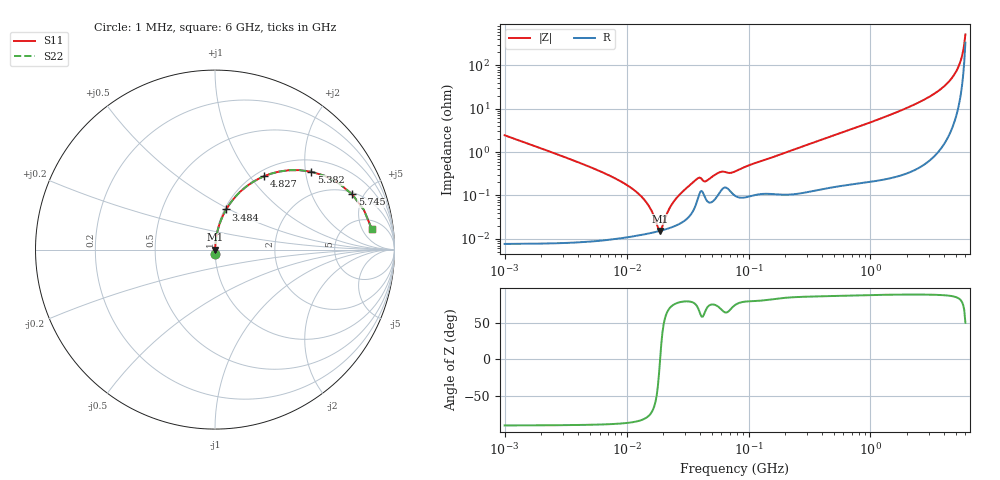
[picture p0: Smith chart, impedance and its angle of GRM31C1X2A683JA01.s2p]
!Murata Part Number: GRM31C1X2A683JA01
!These Parameters are Measured in Series Mode Connection
!Data Generated on Mar 30, 2021
!  o--ll--o
!Port1  Port2
!  o------o
!Operation Temp=25[degC], DC Bias Voltage=0[V]
!Freq. Start=1000[kHz] Stop=6[GHz] 401[Steps]
# Hz S RI R 50
!Freq.(Hz) S11(Real) S11(Imag) S21(Real) S21(Imag) S12(Real) S12(Imag) S22(Real) S22(Imag)
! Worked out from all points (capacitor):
!   401 points, 1 MHz to 6 GHz, reference 50 ohm
!   read as one part in series: C = 64.9 nF near 1.044 MHz
!   lowest |Z| = 15.3 mohm at 18.84 MHz (marker M1)
!   series resonance near 18.83 MHz, so ESL is about 1.1 nH
!   S11 on the Smith chart (normalised r, x): 1 MHz: 1.00, -0.05; 3.484 GHz: 1.02, +0.48; 4.827 GHz: 1.09, +1.18; 5.382 GHz: 1.30, +2.15; 5.745 GHz: 2.14, +4.10; 6 GHz: 8, +8
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1000000  0.000673 -0.0244  0.9993 0.0244  0.9993 0.0244  0.000673 -0.0244
4293785  0.000113 -0.0054  0.9999 0.0054  0.9999 0.0054  0.000113 -0.0054
8067822  0.000105 -0.00247  0.9999 0.00247  0.9999 0.00247  0.000105 -0.00247
1.193364e7  0.000118 -0.00123  0.9999 0.00123  0.9999 0.00123  0.000118 -0.00123
1.515906e7  0.000133 -0.00057  0.9999 0.00057  0.9999 0.00057  0.000133 -0.00057
1.843659e7  0.000151 -5.54e-05  0.9998 5.54e-05  0.9998 5.54e-05  0.000151 -5.54e-05
1.884196e7  0.000153 1.7e-06  0.9998 -1.7e-06  0.9998 -1.7e-06  0.000153 1.7e-06
2.242276e7  0.000177 0.000466  0.9998 -0.000466  0.9998 -0.000466  0.000177 0.000466
2.44608e7  0.000194 0.000709  0.9998 -0.000709  0.9998 -0.000709  0.000194 0.000709
3.697709e7  0.000614 0.0022  0.9994 -0.0022  0.9994 -0.0022  0.000614 0.0022
3.947016e7  0.00107 0.00234  0.9989 -0.00234  0.9989 -0.00234  0.00107 0.00234
4.497189e7  0.000798 0.00199  0.9992 -0.00199  0.9992 -0.00199  0.000798 0.00199
5.838291e7  0.00121 0.00323  0.9988 -0.00323  0.9988 -0.00323  0.00121 0.00323
7.745967e7  0.000999 0.00343  0.999 -0.00343  0.999 -0.00343  0.000999 0.00343
3.325952e8  0.00151 0.0161  0.9985 -0.0161  0.9985 -0.0161  0.00151 0.0161
1.428092e9  0.00745 0.0703  0.9926 -0.0703  0.9926 -0.0703  0.00745 0.0703
3.483508e9  0.0624 0.2236  0.9376 -0.2236  0.9376 -0.2236  0.0624 0.2236
4.236675e9  0.1381 0.3199  0.8619 -0.3199  0.8619 -0.3199  0.1381 0.3199
4.827224e9  0.275 0.4095  0.725 -0.4095  0.725 -0.4095  0.275 0.4095
5.38176e9  0.5366 0.434  0.4634 -0.434  0.4634 -0.434  0.5366 0.434
5.744609e9  0.7645 0.3077  0.2355 -0.3077  0.2355 -0.3077  0.7645 0.3077
6e9  0.8733 0.1151  0.1267 -0.1151  0.1267 -0.1151  0.8733 0.1151
